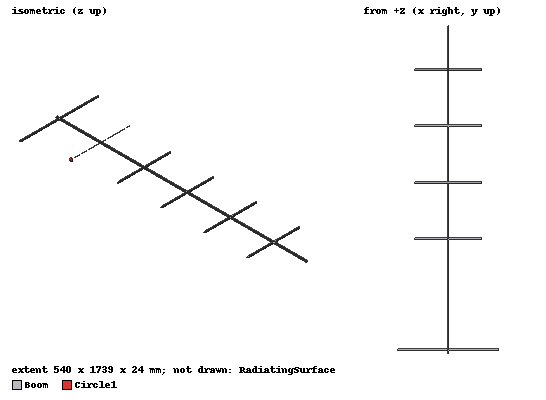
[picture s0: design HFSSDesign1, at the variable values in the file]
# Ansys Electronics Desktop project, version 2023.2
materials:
  vacuum: permittivity=1
  aluminum: permeability=1.000021 conductivity=38000000

design HFSSDesign1 (HFSS, HFSS Modal Network, model units mm)
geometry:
  Boom [aluminum] = cylinder(axis=Y, base_centre=(0mm, -20mm, 0mm), radius=5.03mm, height=1739mm)
  reflector = cylinder(axis=X, base_centre=(-270mm, 0mm, 0mm), radius=5.03mm, height=540mm)
  Dipole = cylinder(axis=X, base_centre=(-205mm, 288mm, 0mm), radius=1mm, height=410mm)
  Director_1 = cylinder(axis=X, base_centre=(-180mm, 588mm, 0mm), radius=5.03mm, height=360mm)
  Director_2 = cylinder(axis=X, base_centre=(-180mm, 888mm, 0mm), radius=5.03mm, height=360mm)
  Director_3 = cylinder(axis=X, base_centre=(-180mm, 1188mm, 0mm), radius=5.03mm, height=360mm)
  Director_4 = cylinder(axis=X, base_centre=(-180mm, 1488mm, 0mm), radius=5.03mm, height=360mm)
  Boom.unite(reflector, Dipole, Director_1..Director_4)
  Circle1 = circle(normal=X, centre=(205mm, 288mm, 0mm), radius=12mm)
  RadiatingSurface [vacuum] = region(absolute_offset=400mm on all sides)
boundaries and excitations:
  Open1: Radiation Objects=RadiatingSurface
  1: Lumped Port Objects=Circle1 LumpedPortType=Modal Modes{Mode1{IntLine{(205, 288, -12) -> (205, 288, 12)} CharImp=Zpi RenormImp=50ohm}} Impedance=50ohm
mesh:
  initial mesh: GlobalSurfApproximation{CurvedSurfaceApproxChoice=UseSlider SliderMeshSettings=1}
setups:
  Setup1: HfssDriven Frequency=250MHz MaxDeltaS=0.02 MaximumPasses=6 MinimumPasses=1 MinimumConvergedPasses=1 PercentRefinement=30 BasisOrder=1 PortAccuracy=2 DrivenSolverType="Direct Solver"
    sweep Sweep: 125MHz to 375MHz, 401 points; Type=Fast SaveFields
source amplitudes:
  1:1: 1W 0deg
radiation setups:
  3D: Infinite Sphere Theta=0deg..180deg step 2deg Phi=-180deg..180deg step 2deg
  Elevation: Infinite Sphere Theta=-180deg..180deg step 1deg Phi=0deg..90deg step 90deg
  Azimuth: Infinite Sphere Theta=90deg..90deg step 0deg Phi=-180deg..180deg step 1deg
  Infinite Sphere1: Infinite Sphere Theta=0deg..180deg step 2deg Phi=-180deg..180deg step 2deg
  Infinite Sphere2: Infinite Sphere Theta=0deg..180deg step 2deg Phi=-180deg..180deg step 2deg
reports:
  Gain Plot 1: dB(GainTotal) vs Phi, Theta on Setup1 : LastAdaptive, 3D [Freq=0.25GHz]
  S Parameter Plot 1: dB(S(1,1)) vs Freq on Setup1 : Sweep
  Gain Plot 2: dB(GainTotal) vs Phi, Theta on Setup1 : LastAdaptive, 3D [Freq=0.25GHz]
  S Parameter Plot 2: dB(S(1,1)) vs Freq on Setup1 : Sweep
